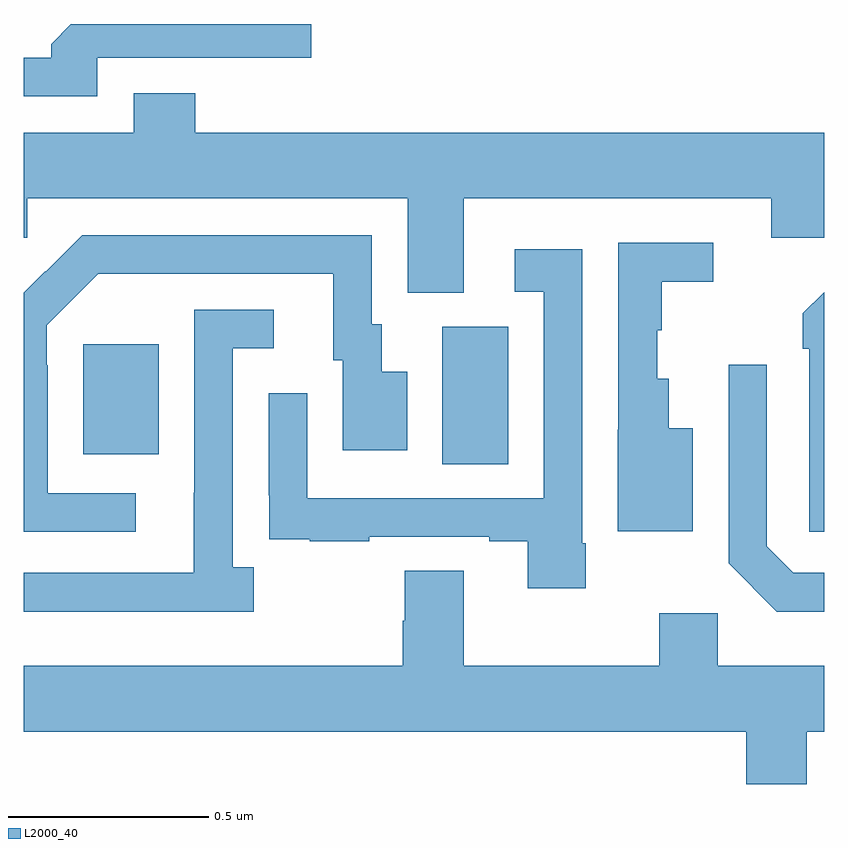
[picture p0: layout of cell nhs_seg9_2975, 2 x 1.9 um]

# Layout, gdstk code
import gdstk
lib = gdstk.Library(unit=1e-6, precision=1e-09)
def R(c, l, rs):  # rectangles x0, y0, x1, y1
    for r in rs: c.add(gdstk.rectangle(r[:2], r[2:], *l))
def P(c, l, *ps):  # polygons
    for p in ps: c.add(gdstk.Polygon(p, *l))
L2000_40 = (2000, 40)

nhs_seg9_2975 = lib.new_cell('nhs_seg9_2975')
R(nhs_seg9_2975, L2000_40, [(148.046,1218.4,148.21,1218.744), (147.149,1218.425,147.337,1218.7)])
P(nhs_seg9_2975, L2000_40, [(147.183,1219.416),(147.718,1219.416),(147.718,1219.5),(147.117,1219.5),(147.068,1219.45),(147.068,1219.416),(147,1219.416),(147,1219.32),(147.183,1219.32)],
  [(148.099,1219.064),(148.868,1219.064),(148.868,1218.966),(149,1218.966),(149,1219.228),(147.428,1219.228),(147.428,1219.327),(147.275,1219.327),(147.275,1219.228),(147,1219.228),(147,1218.966),(147.009,1218.966),(147.009,1219.064),(147.959,1219.064),(147.959,1218.829),(148.099,1218.829)],
  [(147.28,1218.327),(147.06,1218.327),(147.06,1218.647),(147.057,1218.647),(147.057,1218.747),(147.186,1218.876),(147.773,1218.876),(147.773,1218.66),(147.797,1218.66),(147.797,1218.435),(147.958,1218.435),(147.958,1218.631),(147.895,1218.631),(147.895,1218.75),(147.87,1218.75),(147.87,1218.972),(147.146,1218.972),(147.055,1218.881),(147.054,1218.882),(147,1218.828),(147,1218.231),(147.28,1218.231)],
  [(148.672,1218.49),(148.612,1218.49),(148.612,1218.613),(148.583,1218.613),(148.583,1218.735),(148.594,1218.735),(148.594,1218.856),(148.723,1218.856),(148.723,1218.954),(148.485,1218.954),(148.485,1218.486),(148.484,1218.486),(148.484,1218.233),(148.672,1218.233)],
  [(148.404,1218.202),(148.395,1218.202),(148.395,1218.937),(148.227,1218.937),(148.227,1218.831),(148.299,1218.831),(148.299,1218.315),(147.708,1218.315),(147.708,1218.577),(147.612,1218.577),(147.612,1218.322),(147.613,1218.322),(147.613,1218.213),(147.715,1218.213),(147.715,1218.207),(147.863,1218.207),(147.863,1218.219),(148.163,1218.219),(148.163,1218.207),(148.259,1218.207),(148.259,1218.09),(148.404,1218.09)],
  [(149,1218.83),(148.947,1218.777),(148.947,1218.689),(148.962,1218.689),(148.962,1218.231),(149,1218.231)],
  [(147.574,1218.142),(147.522,1218.142),(147.522,1218.69),(147.625,1218.69),(147.625,1218.786),(147.426,1218.786),(147.426,1218.329),(147.425,1218.329),(147.425,1218.129),(147,1218.129),(147,1218.032),(147.574,1218.032)],
  [(149,1218.129),(148.923,1218.129),(148.857,1218.195),(148.857,1218.649),(148.761,1218.649),(148.761,1218.153),(148.882,1218.032),(149,1218.032)],
  [(148.956,1217.732),(149,1217.732),(149,1217.896),(148.734,1217.896),(148.734,1218.028),(148.588,1218.028),(148.588,1217.896),(148.099,1217.896),(148.099,1218.134),(147.952,1218.134),(147.952,1218.009),(147.947,1218.009),(147.947,1217.896),(147,1217.896),(147,1217.732),(148.805,1217.732),(148.805,1217.601),(148.956,1217.601)])

lib.write_gds('nhs_seg9_2975.gds')
